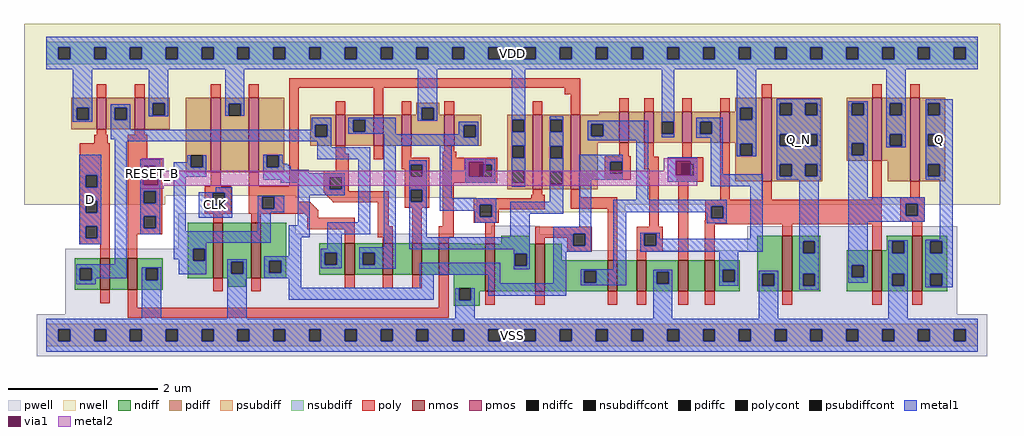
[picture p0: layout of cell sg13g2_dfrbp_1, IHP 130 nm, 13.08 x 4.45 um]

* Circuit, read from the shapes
.subckt sg13g2_dfrbp_1 RESET_B D Q_N CLK VSS VDD Q
XM1 n1 D n2 VSS sg13_lv_nmos w=0.42u l=0.13u
XM2 VSS RESET_B n1 VSS sg13_lv_nmos w=0.42u l=0.13u
XM3 VSS CLK n3 VSS sg13_lv_nmos w=0.74u l=0.13u
XM4 n4 n3 VSS VSS sg13_lv_nmos w=0.74u l=0.13u
XM5 n5 n3 n2 VSS sg13_lv_nmos w=0.42u l=0.13u
XM6 n6 n4 n5 VSS sg13_lv_nmos w=0.42u l=0.13u
XM7 n7 n8 n6 VSS sg13_lv_nmos w=0.42u l=0.13u
XM8 VSS RESET_B n7 VSS sg13_lv_nmos w=0.42u l=0.13u
XM9 n8 n5 VSS VSS sg13_lv_nmos w=0.64u l=0.13u
XM10 n9 n4 n8 VSS sg13_lv_nmos w=0.64u l=0.13u
XM11 n10 n3 n9 VSS sg13_lv_nmos w=0.42u l=0.13u
XM12 VSS n11 n10 VSS sg13_lv_nmos w=0.42u l=0.13u
XM13 n12 RESET_B VSS VSS sg13_lv_nmos w=0.42u l=0.13u
XM14 n11 n9 n12 VSS sg13_lv_nmos w=0.42u l=0.13u
XM15 Q_N n9 VSS VSS sg13_lv_nmos w=0.74u l=0.13u
XM16 VSS n9 n13 VSS sg13_lv_nmos w=0.55u l=0.13u
XM17 Q n13 VSS VSS sg13_lv_nmos w=0.74u l=0.13u
XM18 n2 D VDD VDD sg13_lv_pmos w=0.42u l=0.13u
XM19 VDD RESET_B n2 VDD sg13_lv_pmos w=0.42u l=0.13u
XM20 VDD CLK n3 VDD sg13_lv_pmos w=1u l=0.13u
XM21 n4 n3 VDD VDD sg13_lv_pmos w=1u l=0.13u
XM22 n5 n4 n2 VDD sg13_lv_pmos w=0.42u l=0.13u
XM23 n14 n3 n5 VDD sg13_lv_pmos w=0.42u l=0.13u
XM24 VDD n8 n14 VDD sg13_lv_pmos w=0.42u l=0.13u
XM25 n5 RESET_B VDD VDD sg13_lv_pmos w=0.42u l=0.13u
XM26 n8 n5 VDD VDD sg13_lv_pmos w=1u l=0.13u
XM27 n9 n3 n8 VDD sg13_lv_pmos w=1u l=0.13u
XM28 n15 n4 n9 VDD sg13_lv_pmos w=0.42u l=0.13u
XM29 VDD n11 n15 VDD sg13_lv_pmos w=0.42u l=0.13u
XM30 n11 RESET_B VDD VDD sg13_lv_pmos w=0.42u l=0.13u
XM31 VDD n9 n11 VDD sg13_lv_pmos w=0.42u l=0.13u
XM32 Q_N n9 VDD VDD sg13_lv_pmos w=1.12u l=0.13u
XM33 VDD n9 n13 VDD sg13_lv_pmos w=0.84u l=0.13u
XM34 Q n13 VDD VDD sg13_lv_pmos w=1.12u l=0.13u
.ends

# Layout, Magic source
magic
tech ihp-sg13g2
magscale 1 2
<< nwell >>
rect -60 374 2556 834
rect -60 350 319 374
rect 669 368 2556 374
rect 1153 350 2556 368
rect 1153 329 1551 350
<< pwell >>
rect 353 272 669 327
rect 1193 272 1322 293
rect 353 271 1322 272
rect 353 232 1408 271
rect 50 227 1408 232
rect 1879 227 2441 292
rect 50 56 2441 227
rect -26 -56 2522 56
<< nmos >>
rect 144 122 170 206
rect 218 122 244 206
rect 447 153 473 301
rect 549 153 575 301
rect 800 162 826 246
rect 902 162 928 246
rect 980 162 1006 246
rect 1052 162 1078 246
rect 1176 117 1202 245
rect 1310 117 1336 245
rect 1504 117 1530 201
rect 1582 117 1608 201
rect 1694 117 1720 201
rect 1765 117 1791 201
rect 1973 118 1999 266
rect 2213 118 2239 228
rect 2321 118 2347 266
<< pmos >>
rect 135 552 161 636
rect 237 552 263 636
rect 441 436 467 636
rect 543 436 569 636
rect 775 507 801 591
rect 877 507 903 591
rect 952 507 978 591
rect 1067 507 1093 591
rect 1303 391 1329 591
rect 1405 391 1431 591
rect 1535 515 1561 599
rect 1602 515 1628 599
rect 1704 515 1730 599
rect 1806 515 1832 599
rect 1918 412 1944 636
rect 2213 468 2239 636
rect 2315 412 2341 636
<< ndiff >>
rect 379 232 447 301
rect 76 179 144 206
rect 76 147 90 179
rect 122 147 144 179
rect 76 122 144 147
rect 170 122 218 206
rect 244 179 312 206
rect 244 147 266 179
rect 298 147 312 179
rect 379 200 393 232
rect 425 200 447 232
rect 379 153 447 200
rect 473 197 549 301
rect 473 165 495 197
rect 527 165 549 197
rect 473 153 549 165
rect 575 199 643 301
rect 575 167 597 199
rect 629 167 643 199
rect 575 153 643 167
rect 732 221 800 246
rect 732 189 746 221
rect 778 189 800 221
rect 732 162 800 189
rect 826 221 902 246
rect 826 189 848 221
rect 880 189 902 221
rect 826 162 902 189
rect 928 162 980 246
rect 1006 162 1052 246
rect 1078 245 1142 246
rect 1219 245 1296 267
rect 1078 162 1176 245
rect 244 122 312 147
rect 487 130 535 153
rect 1092 126 1176 162
rect 1092 94 1106 126
rect 1138 117 1176 126
rect 1202 218 1310 245
rect 1202 186 1256 218
rect 1288 186 1310 218
rect 1202 117 1310 186
rect 1336 201 1382 245
rect 1336 172 1504 201
rect 1336 140 1442 172
rect 1474 140 1504 172
rect 1336 117 1504 140
rect 1530 117 1582 201
rect 1608 170 1694 201
rect 1608 138 1636 170
rect 1668 138 1694 170
rect 1608 117 1694 138
rect 1720 117 1765 201
rect 1791 175 1859 201
rect 1791 143 1813 175
rect 1845 143 1859 175
rect 1791 117 1859 143
rect 1905 164 1973 266
rect 1905 132 1919 164
rect 1951 132 1973 164
rect 1905 118 1973 132
rect 1999 252 2074 266
rect 1999 220 2028 252
rect 2060 220 2074 252
rect 2253 252 2321 266
rect 2253 228 2267 252
rect 1999 164 2074 220
rect 1999 132 2028 164
rect 2060 132 2074 164
rect 1999 118 2074 132
rect 2145 187 2213 228
rect 2145 155 2159 187
rect 2191 155 2213 187
rect 2145 118 2213 155
rect 2239 220 2267 228
rect 2299 220 2321 252
rect 2239 165 2321 220
rect 2239 133 2267 165
rect 2299 133 2321 165
rect 2239 118 2321 133
rect 2347 252 2415 266
rect 2347 220 2369 252
rect 2401 220 2415 252
rect 2347 164 2415 220
rect 2347 132 2369 164
rect 2401 132 2415 164
rect 2347 118 2415 132
rect 1138 94 1161 117
rect 1092 79 1161 94
<< pdiff >>
rect 67 609 135 636
rect 67 577 81 609
rect 113 577 135 609
rect 67 552 135 577
rect 161 609 237 636
rect 161 577 183 609
rect 215 577 237 609
rect 161 552 237 577
rect 263 622 331 636
rect 263 590 285 622
rect 317 590 331 622
rect 263 552 331 590
rect 373 482 441 636
rect 373 450 387 482
rect 419 450 441 482
rect 373 436 441 450
rect 467 620 543 636
rect 467 588 489 620
rect 521 588 543 620
rect 467 436 543 588
rect 569 482 637 636
rect 569 450 591 482
rect 623 450 637 482
rect 569 436 637 450
rect 992 609 1053 623
rect 992 591 1006 609
rect 707 564 775 591
rect 707 532 721 564
rect 753 532 775 564
rect 707 507 775 532
rect 801 577 877 591
rect 801 545 823 577
rect 855 545 877 577
rect 801 507 877 545
rect 903 507 952 591
rect 978 577 1006 591
rect 1038 591 1053 609
rect 1846 609 1918 636
rect 1846 599 1860 609
rect 1482 591 1535 599
rect 1038 577 1067 591
rect 978 507 1067 577
rect 1093 562 1166 591
rect 1093 530 1119 562
rect 1151 530 1166 562
rect 1093 507 1166 530
rect 1235 577 1303 591
rect 1235 545 1249 577
rect 1281 545 1303 577
rect 1235 508 1303 545
rect 1235 476 1249 508
rect 1281 476 1303 508
rect 1235 440 1303 476
rect 1235 408 1249 440
rect 1281 408 1303 440
rect 1235 391 1303 408
rect 1329 577 1405 591
rect 1329 545 1351 577
rect 1383 545 1405 577
rect 1329 506 1405 545
rect 1329 474 1351 506
rect 1383 474 1405 506
rect 1329 437 1405 474
rect 1329 405 1351 437
rect 1383 405 1405 437
rect 1329 391 1405 405
rect 1431 565 1535 591
rect 1431 533 1461 565
rect 1493 533 1535 565
rect 1431 515 1535 533
rect 1561 515 1602 599
rect 1628 572 1704 599
rect 1628 540 1650 572
rect 1682 540 1704 572
rect 1628 515 1704 540
rect 1730 572 1806 599
rect 1730 540 1752 572
rect 1784 540 1806 572
rect 1730 515 1806 540
rect 1832 577 1860 599
rect 1892 577 1918 609
rect 1832 515 1918 577
rect 1431 391 1478 515
rect 1846 513 1918 515
rect 1846 481 1860 513
rect 1892 481 1918 513
rect 1846 412 1918 481
rect 1944 622 2080 636
rect 1944 590 1966 622
rect 1998 590 2034 622
rect 2066 590 2080 622
rect 1944 539 2080 590
rect 1944 507 1966 539
rect 1998 507 2034 539
rect 2066 507 2080 539
rect 1944 458 2080 507
rect 2145 621 2213 636
rect 2145 589 2159 621
rect 2191 589 2213 621
rect 2145 514 2213 589
rect 2145 482 2159 514
rect 2191 482 2213 514
rect 2145 468 2213 482
rect 2239 622 2315 636
rect 2239 590 2261 622
rect 2293 590 2315 622
rect 2239 539 2315 590
rect 2239 507 2261 539
rect 2293 507 2315 539
rect 2239 468 2315 507
rect 1944 426 1966 458
rect 1998 426 2034 458
rect 2066 426 2080 458
rect 1944 412 2080 426
rect 2255 412 2315 468
rect 2341 622 2409 636
rect 2341 590 2363 622
rect 2395 590 2409 622
rect 2341 539 2409 590
rect 2341 507 2363 539
rect 2395 507 2409 539
rect 2341 458 2409 507
rect 2341 426 2363 458
rect 2395 426 2409 458
rect 2341 412 2409 426
<< ndiffc >>
rect 90 147 122 179
rect 266 147 298 179
rect 393 200 425 232
rect 495 165 527 197
rect 597 167 629 199
rect 746 189 778 221
rect 848 189 880 221
rect 1106 94 1138 126
rect 1256 186 1288 218
rect 1442 140 1474 172
rect 1636 138 1668 170
rect 1813 143 1845 175
rect 1919 132 1951 164
rect 2028 220 2060 252
rect 2028 132 2060 164
rect 2159 155 2191 187
rect 2267 220 2299 252
rect 2267 133 2299 165
rect 2369 220 2401 252
rect 2369 132 2401 164
<< pdiffc >>
rect 81 577 113 609
rect 183 577 215 609
rect 285 590 317 622
rect 387 450 419 482
rect 489 588 521 620
rect 591 450 623 482
rect 721 532 753 564
rect 823 545 855 577
rect 1006 577 1038 609
rect 1119 530 1151 562
rect 1249 545 1281 577
rect 1249 476 1281 508
rect 1249 408 1281 440
rect 1351 545 1383 577
rect 1351 474 1383 506
rect 1351 405 1383 437
rect 1461 533 1493 565
rect 1650 540 1682 572
rect 1752 540 1784 572
rect 1860 577 1892 609
rect 1860 481 1892 513
rect 1966 590 1998 622
rect 2034 590 2066 622
rect 1966 507 1998 539
rect 2034 507 2066 539
rect 2159 589 2191 621
rect 2159 482 2191 514
rect 2261 590 2293 622
rect 2261 507 2293 539
rect 1966 426 1998 458
rect 2034 426 2066 458
rect 2363 590 2395 622
rect 2363 507 2395 539
rect 2363 426 2395 458
<< psubdiff >>
rect 0 16 2496 30
rect 0 -16 32 16
rect 64 -16 128 16
rect 160 -16 224 16
rect 256 -16 320 16
rect 352 -16 416 16
rect 448 -16 512 16
rect 544 -16 608 16
rect 640 -16 704 16
rect 736 -16 800 16
rect 832 -16 896 16
rect 928 -16 992 16
rect 1024 -16 1088 16
rect 1120 -16 1184 16
rect 1216 -16 1280 16
rect 1312 -16 1376 16
rect 1408 -16 1472 16
rect 1504 -16 1568 16
rect 1600 -16 1664 16
rect 1696 -16 1760 16
rect 1792 -16 1856 16
rect 1888 -16 1952 16
rect 1984 -16 2048 16
rect 2080 -16 2144 16
rect 2176 -16 2240 16
rect 2272 -16 2336 16
rect 2368 -16 2432 16
rect 2464 -16 2496 16
rect 0 -30 2496 -16
<< nsubdiff >>
rect 0 772 2496 786
rect 0 740 32 772
rect 64 740 128 772
rect 160 740 224 772
rect 256 740 320 772
rect 352 740 416 772
rect 448 740 512 772
rect 544 740 608 772
rect 640 740 704 772
rect 736 740 800 772
rect 832 740 896 772
rect 928 740 992 772
rect 1024 740 1088 772
rect 1120 740 1184 772
rect 1216 740 1280 772
rect 1312 740 1376 772
rect 1408 740 1472 772
rect 1504 740 1568 772
rect 1600 740 1664 772
rect 1696 740 1760 772
rect 1792 740 1856 772
rect 1888 740 1952 772
rect 1984 740 2048 772
rect 2080 740 2144 772
rect 2176 740 2240 772
rect 2272 740 2336 772
rect 2368 740 2432 772
rect 2464 740 2496 772
rect 0 726 2496 740
<< psubdiffcont >>
rect 32 -16 64 16
rect 128 -16 160 16
rect 224 -16 256 16
rect 320 -16 352 16
rect 416 -16 448 16
rect 512 -16 544 16
rect 608 -16 640 16
rect 704 -16 736 16
rect 800 -16 832 16
rect 896 -16 928 16
rect 992 -16 1024 16
rect 1088 -16 1120 16
rect 1184 -16 1216 16
rect 1280 -16 1312 16
rect 1376 -16 1408 16
rect 1472 -16 1504 16
rect 1568 -16 1600 16
rect 1664 -16 1696 16
rect 1760 -16 1792 16
rect 1856 -16 1888 16
rect 1952 -16 1984 16
rect 2048 -16 2080 16
rect 2144 -16 2176 16
rect 2240 -16 2272 16
rect 2336 -16 2368 16
rect 2432 -16 2464 16
<< nsubdiffcont >>
rect 32 740 64 772
rect 128 740 160 772
rect 224 740 256 772
rect 320 740 352 772
rect 416 740 448 772
rect 512 740 544 772
rect 608 740 640 772
rect 704 740 736 772
rect 800 740 832 772
rect 896 740 928 772
rect 992 740 1024 772
rect 1088 740 1120 772
rect 1184 740 1216 772
rect 1280 740 1312 772
rect 1376 740 1408 772
rect 1472 740 1504 772
rect 1568 740 1600 772
rect 1664 740 1696 772
rect 1760 740 1792 772
rect 1856 740 1888 772
rect 1952 740 1984 772
rect 2048 740 2080 772
rect 2144 740 2176 772
rect 2240 740 2272 772
rect 2336 740 2368 772
rect 2432 740 2464 772
<< poly >>
rect 135 636 161 672
rect 237 636 263 672
rect 441 636 467 672
rect 543 636 569 672
rect 651 663 1431 689
rect 135 537 161 552
rect 237 537 263 552
rect 128 514 164 537
rect 89 428 170 514
rect 89 396 105 428
rect 137 396 170 428
rect 89 360 170 396
rect 89 328 105 360
rect 137 328 170 360
rect 89 292 170 328
rect 89 260 105 292
rect 137 260 170 292
rect 89 244 170 260
rect 144 206 170 244
rect 218 472 270 537
rect 218 454 311 472
rect 218 422 261 454
rect 293 422 311 454
rect 218 386 311 422
rect 441 399 467 436
rect 543 399 569 436
rect 651 399 677 663
rect 775 591 801 627
rect 877 591 903 663
rect 1390 645 1431 663
rect 952 591 978 627
rect 1067 591 1093 627
rect 1303 591 1329 627
rect 1405 591 1431 645
rect 1918 636 1944 672
rect 2213 636 2239 672
rect 2315 636 2341 672
rect 1535 599 1561 635
rect 1602 599 1628 635
rect 1704 599 1730 635
rect 1806 599 1832 635
rect 775 486 801 507
rect 775 441 810 486
rect 877 471 903 507
rect 952 475 978 507
rect 1067 492 1093 507
rect 1062 475 1098 492
rect 952 457 1026 475
rect 952 445 976 457
rect 218 354 261 386
rect 293 354 311 386
rect 218 318 311 354
rect 425 381 496 399
rect 425 349 446 381
rect 478 349 496 381
rect 425 326 496 349
rect 543 371 677 399
rect 744 423 810 441
rect 744 391 760 423
rect 792 391 810 423
rect 744 386 810 391
rect 960 425 976 445
rect 1008 425 1026 457
rect 960 389 1026 425
rect 744 381 918 386
rect 746 379 918 381
rect 748 377 918 379
rect 750 375 918 377
rect 752 373 918 375
rect 754 371 918 373
rect 543 339 579 371
rect 611 358 677 371
rect 756 369 918 371
rect 758 367 918 369
rect 760 365 918 367
rect 762 363 918 365
rect 764 361 918 363
rect 766 359 918 361
rect 611 356 706 358
rect 768 356 918 359
rect 611 354 708 356
rect 611 352 710 354
rect 611 350 712 352
rect 611 348 714 350
rect 611 346 716 348
rect 611 344 718 346
rect 611 342 720 344
rect 611 340 722 342
rect 611 339 724 340
rect 543 338 724 339
rect 543 336 726 338
rect 543 326 729 336
rect 218 286 261 318
rect 293 286 311 318
rect 447 301 473 326
rect 549 325 729 326
rect 549 301 575 325
rect 692 324 729 325
rect 695 322 729 324
rect 697 320 729 322
rect 699 314 729 320
rect 218 270 311 286
rect 218 206 244 270
rect 699 284 826 314
rect 800 246 826 284
rect 888 292 918 356
rect 960 357 976 389
rect 1008 357 1026 389
rect 960 341 1026 357
rect 1062 457 1208 475
rect 1062 425 1162 457
rect 1194 425 1208 457
rect 1062 409 1208 425
rect 888 262 928 292
rect 902 246 928 262
rect 980 246 1006 341
rect 1062 292 1092 409
rect 1535 479 1561 515
rect 1497 465 1566 479
rect 1497 433 1511 465
rect 1543 433 1566 465
rect 1602 478 1628 515
rect 1602 444 1642 478
rect 1704 477 1730 515
rect 1497 417 1566 433
rect 1303 376 1329 391
rect 1300 367 1336 376
rect 1146 349 1336 367
rect 1146 317 1162 349
rect 1194 337 1336 349
rect 1405 369 1431 391
rect 1405 339 1530 369
rect 1194 317 1212 337
rect 1146 301 1212 317
rect 1052 262 1092 292
rect 1052 246 1078 262
rect 1176 245 1202 301
rect 1310 272 1462 291
rect 1310 261 1412 272
rect 1310 245 1336 261
rect 144 86 170 122
rect 218 73 244 122
rect 447 117 473 153
rect 549 117 575 153
rect 800 126 826 162
rect 902 126 928 162
rect 980 126 1006 162
rect 1052 73 1078 162
rect 1396 240 1412 261
rect 1444 240 1462 272
rect 1396 224 1462 240
rect 1504 201 1530 339
rect 1616 290 1642 444
rect 1689 459 1760 477
rect 1689 427 1703 459
rect 1735 427 1760 459
rect 1689 411 1760 427
rect 1582 272 1652 290
rect 1582 240 1602 272
rect 1634 240 1652 272
rect 1582 224 1652 240
rect 1582 201 1608 224
rect 1694 201 1720 411
rect 1806 363 1832 515
rect 1918 363 1944 412
rect 2213 363 2239 468
rect 2315 370 2341 412
rect 1766 345 2239 363
rect 1766 313 1782 345
rect 1814 313 2239 345
rect 1766 306 2239 313
rect 1765 297 2239 306
rect 2288 352 2354 370
rect 2288 320 2304 352
rect 2336 320 2354 352
rect 2288 304 2354 320
rect 1765 201 1791 297
rect 1973 266 1999 297
rect 2213 228 2239 297
rect 2321 266 2347 304
rect 1176 81 1202 117
rect 1310 81 1336 117
rect 1504 81 1530 117
rect 1582 81 1608 117
rect 1694 81 1720 117
rect 1765 81 1791 117
rect 1973 82 1999 118
rect 2213 82 2239 118
rect 2321 82 2347 118
rect 218 47 1078 73
<< polycont >>
rect 105 396 137 428
rect 105 328 137 360
rect 105 260 137 292
rect 261 422 293 454
rect 261 354 293 386
rect 446 349 478 381
rect 760 391 792 423
rect 976 425 1008 457
rect 579 339 611 371
rect 261 286 293 318
rect 976 357 1008 389
rect 1162 425 1194 457
rect 1511 433 1543 465
rect 1162 317 1194 349
rect 1412 240 1444 272
rect 1703 427 1735 459
rect 1602 240 1634 272
rect 1782 313 1814 345
rect 2304 320 2336 352
<< metal1 >>
rect 0 772 2496 800
rect 0 740 32 772
rect 64 740 128 772
rect 160 740 224 772
rect 256 740 320 772
rect 352 740 416 772
rect 448 740 512 772
rect 544 740 608 772
rect 640 740 704 772
rect 736 740 800 772
rect 832 740 896 772
rect 928 740 992 772
rect 1024 740 1088 772
rect 1120 740 1184 772
rect 1216 740 1280 772
rect 1312 740 1376 772
rect 1408 740 1472 772
rect 1504 740 1568 772
rect 1600 740 1664 772
rect 1696 740 1760 772
rect 1792 740 1856 772
rect 1888 740 1952 772
rect 1984 740 2048 772
rect 2080 740 2144 772
rect 2176 740 2240 772
rect 2272 740 2336 772
rect 2368 740 2432 772
rect 2464 740 2496 772
rect 0 712 2496 740
rect 71 609 123 712
rect 275 622 327 712
rect 71 577 81 609
rect 113 577 123 609
rect 71 572 123 577
rect 173 609 225 619
rect 173 577 183 609
rect 215 577 225 609
rect 275 590 285 622
rect 317 590 327 622
rect 275 587 327 590
rect 479 620 531 712
rect 479 588 489 620
rect 521 588 531 620
rect 996 609 1048 712
rect 173 551 225 577
rect 711 564 764 582
rect 711 551 721 564
rect 173 532 721 551
rect 753 532 764 564
rect 809 577 936 583
rect 809 545 823 577
rect 855 545 936 577
rect 996 577 1006 609
rect 1038 577 1048 609
rect 996 575 1048 577
rect 1247 577 1283 712
rect 809 540 936 545
rect 173 525 764 532
rect 183 519 764 525
rect 88 428 147 483
rect 88 396 105 428
rect 137 396 147 428
rect 88 360 147 396
rect 88 328 105 360
rect 137 328 147 360
rect 88 292 147 328
rect 88 260 105 292
rect 137 260 147 292
rect 88 244 147 260
rect 183 190 215 519
rect 726 504 764 519
rect 904 539 936 540
rect 1105 562 1157 572
rect 1105 539 1119 562
rect 904 530 1119 539
rect 1151 530 1157 562
rect 904 507 1157 530
rect 1247 545 1249 577
rect 1281 545 1283 577
rect 1247 508 1283 545
rect 581 482 633 483
rect 251 454 305 472
rect 377 463 387 482
rect 251 442 261 454
rect 293 442 305 454
rect 251 402 260 442
rect 300 402 305 442
rect 251 386 305 402
rect 251 354 261 386
rect 293 354 305 386
rect 251 318 305 354
rect 251 286 261 318
rect 293 286 305 318
rect 251 270 305 286
rect 341 450 387 463
rect 419 450 429 482
rect 341 424 429 450
rect 581 450 591 482
rect 623 460 633 482
rect 726 472 868 504
rect 623 457 645 460
rect 623 456 649 457
rect 623 452 650 456
rect 623 450 655 452
rect 581 443 655 450
rect 581 434 703 443
rect 341 279 373 424
rect 581 423 800 434
rect 581 417 760 423
rect 628 409 760 417
rect 454 383 498 397
rect 409 381 498 383
rect 409 349 446 381
rect 478 349 498 381
rect 674 391 760 409
rect 792 391 800 423
rect 674 375 800 391
rect 409 315 498 349
rect 567 371 638 373
rect 567 339 579 371
rect 611 339 638 371
rect 567 329 638 339
rect 567 279 602 329
rect 674 294 706 375
rect 836 303 868 472
rect 341 247 602 279
rect 650 262 706 294
rect 753 271 868 303
rect 341 232 429 247
rect 341 204 393 232
rect 80 179 215 190
rect 355 200 393 204
rect 425 200 429 232
rect 650 211 683 262
rect 753 231 792 271
rect 904 235 936 507
rect 80 147 90 179
rect 122 152 215 179
rect 256 179 308 182
rect 122 147 132 152
rect 80 137 132 147
rect 256 147 266 179
rect 298 147 308 179
rect 355 163 429 200
rect 485 197 537 204
rect 485 165 495 197
rect 527 165 537 197
rect 256 44 308 147
rect 485 44 537 165
rect 584 199 683 211
rect 584 167 597 199
rect 629 167 683 199
rect 736 221 792 231
rect 736 189 746 221
rect 778 189 792 221
rect 736 179 792 189
rect 839 221 936 235
rect 972 457 1019 469
rect 972 425 976 457
rect 1008 425 1019 457
rect 972 389 1019 425
rect 972 357 976 389
rect 1008 357 1019 389
rect 972 262 1019 357
rect 1055 367 1087 507
rect 1247 476 1249 508
rect 1281 476 1283 508
rect 1123 465 1203 471
rect 1123 425 1132 465
rect 1172 457 1203 465
rect 1194 425 1203 457
rect 1123 409 1203 425
rect 1247 440 1283 476
rect 1247 408 1249 440
rect 1281 408 1283 440
rect 1247 398 1283 408
rect 1349 577 1385 587
rect 1349 545 1351 577
rect 1383 545 1385 577
rect 1349 506 1385 545
rect 1451 565 1613 575
rect 1451 533 1461 565
rect 1493 533 1613 565
rect 1451 523 1613 533
rect 1649 572 1683 712
rect 1850 609 1902 712
rect 1649 540 1650 572
rect 1682 540 1683 572
rect 1649 530 1683 540
rect 1742 572 1813 582
rect 1742 540 1752 572
rect 1784 540 1813 572
rect 1742 529 1813 540
rect 1349 474 1351 506
rect 1383 474 1385 506
rect 1349 437 1385 474
rect 1349 405 1351 437
rect 1383 405 1385 437
rect 1055 349 1206 367
rect 1349 358 1385 405
rect 1055 333 1162 349
rect 1148 317 1162 333
rect 1194 317 1206 349
rect 1148 301 1206 317
rect 1243 326 1385 358
rect 1428 465 1545 483
rect 1428 433 1511 465
rect 1543 433 1545 465
rect 1428 417 1545 433
rect 1243 262 1296 326
rect 1428 290 1460 417
rect 1581 363 1613 523
rect 1665 468 1745 477
rect 1665 428 1687 468
rect 1727 459 1745 468
rect 1665 427 1703 428
rect 1735 427 1745 459
rect 1665 411 1745 427
rect 1781 431 1813 529
rect 1850 577 1860 609
rect 1892 577 1902 609
rect 1850 513 1902 577
rect 1850 481 1860 513
rect 1892 481 1902 513
rect 1850 479 1902 481
rect 1958 622 2076 633
rect 1958 590 1966 622
rect 1998 590 2034 622
rect 2066 590 2076 622
rect 1958 539 2076 590
rect 1958 507 1966 539
rect 1998 507 2034 539
rect 2066 507 2076 539
rect 1958 458 2076 507
rect 1781 399 1920 431
rect 1958 426 1966 458
rect 1998 426 2034 458
rect 2066 426 2076 458
rect 1958 416 2076 426
rect 2149 621 2201 627
rect 2149 589 2159 621
rect 2191 589 2201 621
rect 2149 514 2201 589
rect 2149 482 2159 514
rect 2191 482 2201 514
rect 2251 622 2303 712
rect 2251 590 2261 622
rect 2293 590 2303 622
rect 2251 539 2303 590
rect 2251 507 2261 539
rect 2293 507 2303 539
rect 2251 504 2303 507
rect 2357 622 2429 632
rect 2357 590 2363 622
rect 2395 590 2429 622
rect 2357 539 2429 590
rect 2357 507 2363 539
rect 2395 507 2429 539
rect 972 230 1296 262
rect 839 189 848 221
rect 880 189 936 221
rect 1253 218 1296 230
rect 839 178 936 189
rect 584 153 683 167
rect 650 127 683 153
rect 1001 162 1216 194
rect 1253 186 1256 218
rect 1288 186 1296 218
rect 1253 176 1296 186
rect 1359 272 1460 290
rect 1359 240 1412 272
rect 1444 240 1460 272
rect 1359 224 1460 240
rect 1520 345 1824 363
rect 1520 329 1782 345
rect 1001 127 1038 162
rect 650 95 1038 127
rect 1184 139 1216 162
rect 1359 139 1393 224
rect 1520 177 1554 329
rect 1770 313 1782 329
rect 1814 313 1824 345
rect 1770 300 1824 313
rect 1592 272 1644 275
rect 1592 240 1602 272
rect 1634 258 1644 272
rect 1887 258 1920 399
rect 1634 240 1920 258
rect 1592 224 1920 240
rect 2018 252 2070 416
rect 1096 94 1106 126
rect 1138 94 1148 126
rect 1184 106 1393 139
rect 1432 172 1554 177
rect 1803 175 1855 224
rect 1432 140 1442 172
rect 1474 140 1554 172
rect 1432 134 1554 140
rect 1626 170 1678 175
rect 1626 138 1636 170
rect 1668 138 1678 170
rect 1096 44 1148 94
rect 1626 44 1678 138
rect 1803 143 1813 175
rect 1845 143 1855 175
rect 2018 220 2028 252
rect 2060 220 2070 252
rect 1803 133 1855 143
rect 1909 164 1961 172
rect 1909 132 1919 164
rect 1951 132 1961 164
rect 1909 44 1961 132
rect 2018 164 2070 220
rect 2018 132 2028 164
rect 2060 132 2070 164
rect 2149 370 2201 482
rect 2357 458 2429 507
rect 2357 426 2363 458
rect 2395 426 2429 458
rect 2357 416 2429 426
rect 2149 352 2354 370
rect 2149 320 2304 352
rect 2336 320 2354 352
rect 2149 304 2354 320
rect 2149 187 2202 304
rect 2395 256 2429 416
rect 2149 155 2159 187
rect 2191 155 2202 187
rect 2149 141 2202 155
rect 2257 252 2309 254
rect 2257 220 2267 252
rect 2299 220 2309 252
rect 2257 165 2309 220
rect 2018 121 2070 132
rect 2257 133 2267 165
rect 2299 133 2309 165
rect 2257 44 2309 133
rect 2355 252 2429 256
rect 2355 220 2369 252
rect 2401 220 2429 252
rect 2355 164 2429 220
rect 2355 132 2369 164
rect 2401 132 2429 164
rect 2355 129 2429 132
rect 0 16 2496 44
rect 0 -16 32 16
rect 64 -16 128 16
rect 160 -16 224 16
rect 256 -16 320 16
rect 352 -16 416 16
rect 448 -16 512 16
rect 544 -16 608 16
rect 640 -16 704 16
rect 736 -16 800 16
rect 832 -16 896 16
rect 928 -16 992 16
rect 1024 -16 1088 16
rect 1120 -16 1184 16
rect 1216 -16 1280 16
rect 1312 -16 1376 16
rect 1408 -16 1472 16
rect 1504 -16 1568 16
rect 1600 -16 1664 16
rect 1696 -16 1760 16
rect 1792 -16 1856 16
rect 1888 -16 1952 16
rect 1984 -16 2048 16
rect 2080 -16 2144 16
rect 2176 -16 2240 16
rect 2272 -16 2336 16
rect 2368 -16 2432 16
rect 2464 -16 2496 16
rect 0 -44 2496 -16
<< via1 >>
rect 260 422 261 442
rect 261 422 293 442
rect 293 422 300 442
rect 260 402 300 422
rect 1132 457 1172 465
rect 1132 425 1162 457
rect 1162 425 1172 457
rect 1687 459 1727 468
rect 1687 428 1703 459
rect 1703 428 1727 459
<< metal2 >>
rect 256 442 314 474
rect 256 402 260 442
rect 300 440 314 442
rect 1120 465 1178 474
rect 1120 440 1132 465
rect 300 425 1132 440
rect 1172 440 1178 465
rect 1655 468 1745 474
rect 1655 440 1687 468
rect 1172 428 1687 440
rect 1727 428 1745 468
rect 1172 425 1745 428
rect 300 402 1745 425
rect 256 400 1745 402
rect 256 393 314 400
<< labels >>
flabel metal2 s 256 393 314 474 0 FreeSans 400 0 0 0 RESET_B
port 1 nsew
flabel metal1 s 88 244 147 483 0 FreeSans 400 0 0 0 D
port 3 nsew
flabel metal1 s 1958 416 2076 633 0 FreeSans 400 0 0 0 Q_N
port 4 nsew
flabel metal1 s 409 315 498 383 0 FreeSans 400 0 0 0 CLK
port 5 nsew
flabel metal1 s 0 -44 2496 44 0 FreeSans 400 0 0 0 VSS
port 6 nsew
flabel metal1 s 0 712 2496 800 0 FreeSans 400 0 0 0 VDD
port 7 nsew
flabel metal1 s 2357 421 2429 627 0 FreeSans 400 0 0 0 Q
port 8 nsew
<< properties >>
string FIXED_BBOX 0 0 2496 756
string GDS_END 27072
string GDS_FILE ../gds/controller.gds
string GDS_START 11156
<< end >>
